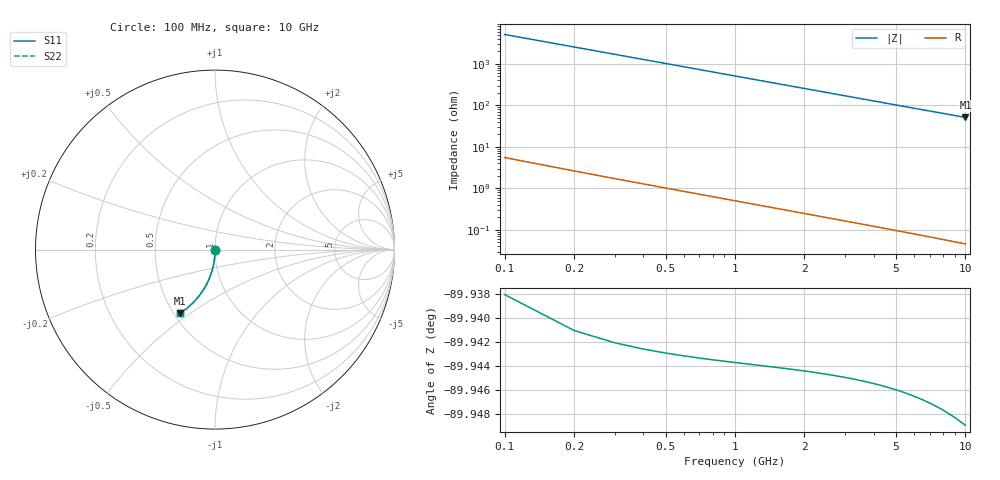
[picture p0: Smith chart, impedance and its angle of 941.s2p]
# Hz S RI R 50.00
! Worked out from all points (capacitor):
!   100 points, 100 MHz to 10 GHz, reference 50 ohm
!   read as one part in shunt: C = 310 fF near 100 MHz
!   lowest |Z| = 51.6 ohm at 10 GHz (marker M1)
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1e8  0.000168 -0.00444  0.9998 -0.0053  0.9998 -0.0053  0.000168 -0.00444
2e8  9.36e-05 -0.00888  0.9997 -0.0106  0.9997 -0.0106  9.36e-05 -0.00888
3e8  -2.78e-05 -0.0133  0.9996 -0.0159  0.9996 -0.0159  -2.78e-05 -0.0133
4e8  -0.000196 -0.0178  0.9994 -0.0212  0.9994 -0.0212  -0.000196 -0.0178
5e8  -0.000412 -0.0222  0.9992 -0.0265  0.9992 -0.0265  -0.000412 -0.0222
6e8  -0.000675 -0.0266  0.9989 -0.0318  0.9989 -0.0318  -0.000675 -0.0266
7e8  -0.000984 -0.0311  0.9986 -0.037  0.9986 -0.037  -0.000984 -0.0311
8e8  -0.00134 -0.0355  0.9982 -0.0423  0.9982 -0.0423  -0.00134 -0.0355
9e8  -0.00174 -0.0399  0.9978 -0.0476  0.9978 -0.0476  -0.00174 -0.0399
1.1e9  -0.00269 -0.0487  0.9969 -0.0581  0.9969 -0.0581  -0.00269 -0.0487
1.4e9  -0.00446 -0.0619  0.9951 -0.0739  0.9951 -0.0739  -0.00446 -0.0619
1.8e9  -0.00746 -0.0793  0.992 -0.0948  0.992 -0.0948  -0.00746 -0.0793
2.1e9  -0.0102 -0.0923  0.9892 -0.1103  0.9892 -0.1103  -0.0102 -0.0923
2.5e9  -0.0144 -0.1094  0.9849 -0.1308  0.9849 -0.1308  -0.0144 -0.1094
2.9e9  -0.0194 -0.1263  0.9799 -0.1512  0.9799 -0.1512  -0.0194 -0.1263
3.4e9  -0.0266 -0.147  0.9726 -0.1761  0.9726 -0.1761  -0.0266 -0.147
4.2e9  -0.0401 -0.179  0.9588 -0.215  0.9588 -0.215  -0.0401 -0.179
5.1e9  -0.0583 -0.2131  0.9404 -0.257  0.9404 -0.257  -0.0583 -0.2131
5.9e9  -0.0767 -0.2415  0.9216 -0.2923  0.9216 -0.2923  -0.0767 -0.2415
6.7e9  -0.097 -0.268  0.9009 -0.3258  0.9009 -0.3258  -0.097 -0.268
8.4e9  -0.1453 -0.3171  0.8516 -0.3898  0.8516 -0.3898  -0.1453 -0.3171
1e10  -0.1952 -0.354  0.8006 -0.4409  0.8006 -0.4409  -0.1952 -0.354
